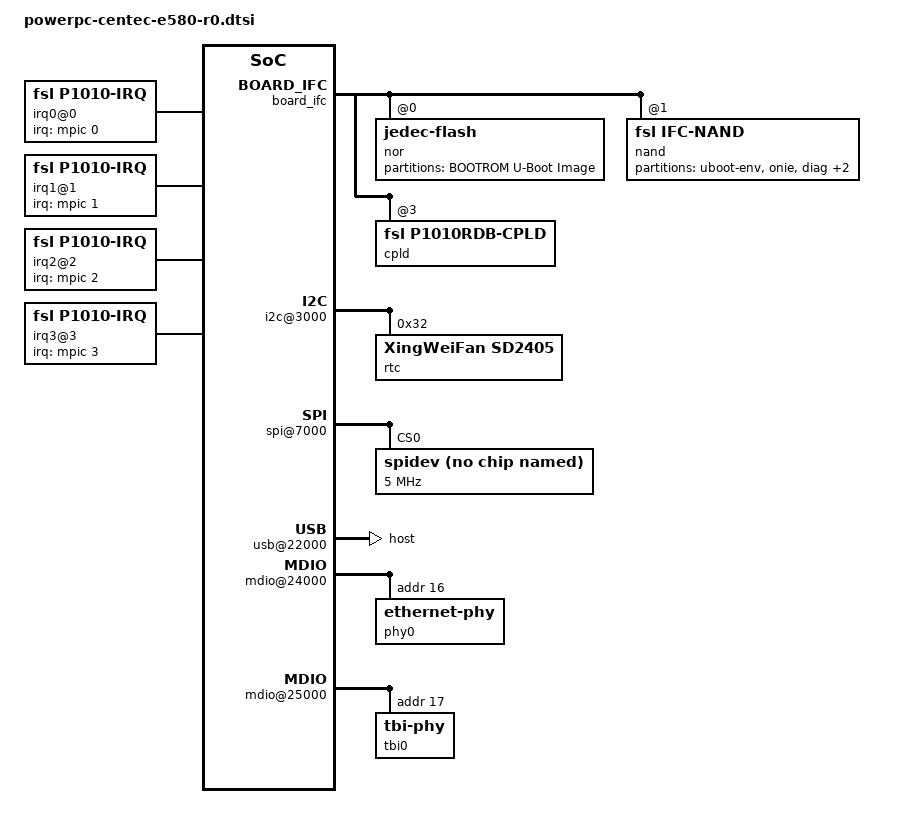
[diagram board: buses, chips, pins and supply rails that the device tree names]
/*
 * CTC Platform P1010 Board Device Tree Source stub (no addresses or top-level ranges)
 *
 * Copyright (C) 2005 Centec Networks Inc.  All rights reserved.
 *
 * Redistribution and use in source and binary forms, with or without
 * modification, are permitted provided that the following conditions are met:
 *     * Redistributions of source code must retain the above copyright
 *       notice, this list of conditions and the following disclaimer.
 *     * Redistributions in binary form must reproduce the above copyright
 *       notice, this list of conditions and the following disclaimer in the
 *       documentation and/or other materials provided with the distribution.
 *     * Neither the name of Freescale Semiconductor nor the
 *       names of its contributors may be used to endorse or promote products
 *       derived from this software without specific prior written permission.
 *
 *
 * ALTERNATIVELY, this software may be distributed under the terms of the
 * GNU General Public License ("GPL") as published by the Free Software
 * Foundation, either version 2 of that License or (at your option) any
 * later version.
 *
 * THIS SOFTWARE IS PROVIDED BY Freescale Semiconductor ``AS IS'' AND ANY
 * EXPRESS OR IMPLIED WARRANTIES, INCLUDING, BUT NOT LIMITED TO, THE IMPLIED
 * WARRANTIES OF MERCHANTABILITY AND FITNESS FOR A PARTICULAR PURPOSE ARE
 * DISCLAIMED. IN NO EVENT SHALL Freescale Semiconductor BE LIABLE FOR ANY
 * DIRECT, INDIRECT, INCIDENTAL, SPECIAL, EXEMPLARY, OR CONSEQUENTIAL DAMAGES
 * (INCLUDING, BUT NOT LIMITED TO, PROCUREMENT OF SUBSTITUTE GOODS OR SERVICES;
 * LOSS OF USE, DATA, OR PROFITS; OR BUSINESS INTERRUPTION) HOWEVER CAUSED AND
 * ON ANY THEORY OF LIABILITY, WHETHER IN CONTRACT, STRICT LIABILITY, OR TORT
 * (INCLUDING NEGLIGENCE OR OTHERWISE) ARISING IN ANY WAY OUT OF THE USE OF THIS
 * SOFTWARE, EVEN IF ADVISED OF THE POSSIBILITY OF SUCH DAMAGE.
 */

&board_ifc {
        nor@0,0 {
                #address-cells = <1>;
                #size-cells = <1>;
                compatible = "jedec-flash";
                reg = <0x0 0x0 0x80000>;
                bank-width = <1>;
                device-width = <1>;

                        partition@0 {
                                /* 512KB for u-boot Bootloader Image */
                                reg = <0x00000000 0x80000>;
                                label = "BOOTROM U-Boot Image";
                        };
                };

	nand@1,0 {
		#address-cells = <1>;
		#size-cells = <1>;
		compatible = "fsl,ifc-nand";
		reg = <0x1 0x0 0x10000>;

			partition@0 {
                                /* uboot env*/
                                reg = <0x0 0x200000>;
                                label = "uboot-env";
                                env_size = <0x2000>;
			};

			partition@100000 {
				/* ONIE */
				reg = <0x200000 0x3e00000>;
				label = "onie";

			};

                        partition@4000000 {
                                /* diag */
                                reg = <0x4000000 0x4000000>;
                                label = "diag";

                        };

			partition@8000000 {
				/* boot area */
				reg = <0x8000000 0x38000000>;
				label = "Boot Area ";

			};

			partition@40000000 {
				/* system area */
				reg = <0x40000000 0x40000000>;
				label = "System Area ";

			};

		};

		cpld@3,0 {
			#address-cells = <1>;
			#size-cells = <1>;
			compatible = "fsl,p1010rdb-cpld";
			reg = <0x3 0x0 0x00010000>;
			bank-width = <1>;
			device-width = <1>;
		};
	};


&board_soc {
	i2c@3000 {
		rtc@32 {
			compatible = "XingWeiFan,sd2405";
			reg = <0x32>;
			};
		};


		spi@7000 {
			spidev@0{
				#address-cells = <1>;
				#size-cells = <1>;
				compatible = "spidev";
				reg = <0>;
				spi-max-frequency = <5000000>;
			};
		};


	usb@22000 {
                #address-cells = <1>;
                #size-cells = <0>;
                compatible = "fsl-usb2-dr";
                reg = <0x22000 0x1000>;
                interrupt-parent = <&mpic>;
                interrupts = <28 0x2>;
                dr_mode = "host";
                phy_type = "utmi";
	};

	mdio@24000 {
                phy0: ethernet-phy@0 {
                        reg = <0x10>;
                };
        };

	mdio@25000 {
		tbi0: tbi-phy@11 {
			reg = <0x11>;
			device_type = "tbi-phy";
		};
	};

	mdio@26000 {
		status = "disabled";
		tbi1: tbi-phy@11 {
			reg = <0x11>;
			device_type = "tbi-phy";
		};
	};

	enet0: ethernet@b0000 {
		status = "disabled";
		phy-handle = <&phy0>;
		phy-connection-type = "rgmii-id";
	};
	enet1: ethernet@b1000 {
		local-mac-address = [ 00 00 00 00 00 00 ];
		phy-handle = <&phy0>;
		tbi-handle = <&tbi0>;
		phy-connection-type = "sgmii";
	};

	enet2: ethernet@b2000 {
		status = "disabled";
		phy-handle = <&phy0>;
		tbi-handle = <&tbi1>;
		phy-connection-type = "sgmii";
	};

	bdinfo@0 {
                compatible = "ctc-bdinfo";
                device_type = "bdinfo";
                bd-series = <0>;
                bd-type = <0>;
                bd-version = <0>;
                bd-nor-type = <0>;
                bd-nand-type = <0>;
                bd-ddr-type = <0>;
        };

	
        irq0@0 {
        	compatible = "fsl,p1010-irq";
        	device_type = "irq0";
                interrupts = <0 1 0 0>;
                interrupt-parent = <&mpic>;
                };

	irq1@1 {
                compatible = "fsl,p1010-irq";
                device_type = "irq1";
                interrupts = <1 1 0 0>;
                interrupt-parent = <&mpic>;
                };

	irq2@2 {
                compatible = "fsl,p1010-irq";
                device_type = "irq2";
                interrupts = <2 1 0 0>;
                interrupt-parent = <&mpic>;
                };

	irq3@3 {
                compatible = "fsl,p1010-irq";
                device_type = "irq3";
                interrupts = <3 1 0 0>;
                interrupt-parent = <&mpic>;
                };
};
